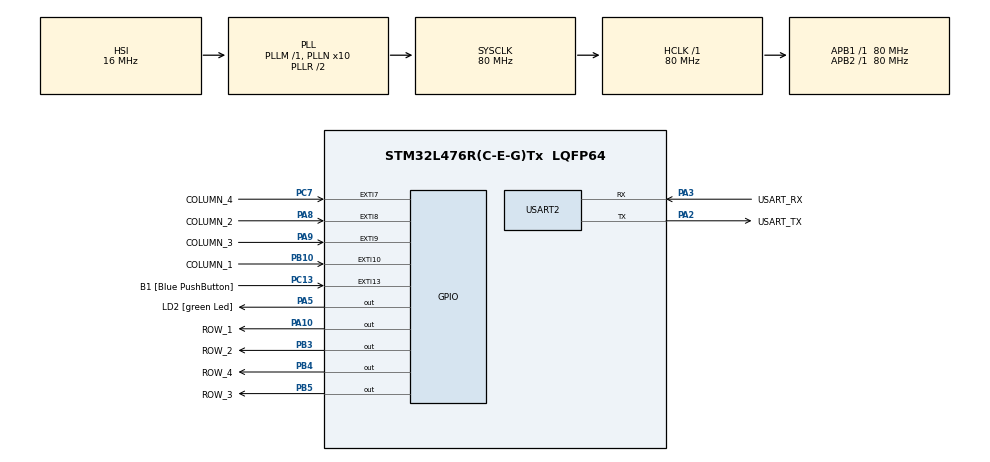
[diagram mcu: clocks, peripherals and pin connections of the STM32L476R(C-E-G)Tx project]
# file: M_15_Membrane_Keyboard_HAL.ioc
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Mcu.Family=STM32L4
Mcu.Name=STM32L476R(C-E-G)Tx
Mcu.Package=LQFP64
NVIC.EXTI15_10_IRQn=true\:0\:0\:false\:false\:true\:true\:true\:true
NVIC.EXTI9_5_IRQn=true\:0\:0\:false\:false\:true\:true\:true\:true
NVIC.PriorityGroup=NVIC_PRIORITYGROUP_4
NVIC.USART2_IRQn=true\:0\:0\:false\:false\:true\:true\:true\:true
PA10.GPIO_Label=ROW_1
PA10.Signal=GPIO_Output
PA13\ (JTMS-SWDIO).GPIO_Label=TMS
PA13\ (JTMS-SWDIO).Mode=Serial_Wire
PA13\ (JTMS-SWDIO).Signal=SYS_JTMS-SWDIO
PA14\ (JTCK-SWCLK).GPIO_Label=TCK
PA14\ (JTCK-SWCLK).Mode=Serial_Wire
PA14\ (JTCK-SWCLK).Signal=SYS_JTCK-SWCLK
PA2.GPIO_Label=USART_TX
PA2.GPIO_Mode=GPIO_MODE_AF_PP
PA2.GPIO_PuPd=GPIO_NOPULL
PA2.GPIO_Speed=GPIO_SPEED_FREQ_VERY_HIGH
PA2.Mode=Asynchronous
PA2.Signal=USART2_TX
PA3.GPIO_Label=USART_RX
PA3.GPIO_Mode=GPIO_MODE_AF_PP
PA3.GPIO_PuPd=GPIO_NOPULL
PA3.GPIO_Speed=GPIO_SPEED_FREQ_VERY_HIGH
PA3.Mode=Asynchronous
PA3.Signal=USART2_RX
PA5.GPIO_Label=LD2 [green Led]
PA5.GPIO_ModeDefaultOutputPP=GPIO_MODE_OUTPUT_PP
PA5.GPIO_PuPd=GPIO_NOPULL
PA5.GPIO_Speed=GPIO_SPEED_FREQ_LOW
PA5.Signal=GPIO_Output
PA8.GPIO_Label=COLUMN_2
PA8.GPIO_PuPd=GPIO_PULLDOWN
PA8.Signal=GPXTI8
PA9.GPIO_Label=COLUMN_3
PA9.GPIO_PuPd=GPIO_PULLDOWN
PA9.Signal=GPXTI9
PB10.GPIO_Label=COLUMN_1
PB10.GPIO_PuPd=GPIO_PULLDOWN
PB10.Signal=GPXTI10
PB3\ (JTDO-TRACESWO).GPIO_Label=ROW_2
PB3\ (JTDO-TRACESWO).Signal=GPIO_Output
PB4\ (NJTRST).GPIO_Label=ROW_4
PB4\ (NJTRST).Signal=GPIO_Output
PB5.GPIO_Label=ROW_3
PB5.Signal=GPIO_Output
PC13.GPIO_Label=B1 [Blue PushButton]
PC13.GPIO_ModeDefaultEXTI=GPIO_MODE_IT_FALLING
PC13.GPIO_PuPd=GPIO_NOPULL
PC13.Signal=GPXTI13
PC14-OSC32_IN\ (PC14).Mode=LSE-External-Oscillator
PC14-OSC32_IN\ (PC14).Signal=RCC_OSC32_IN
PC15-OSC32_OUT\ (PC15).Mode=LSE-External-Oscillator
PC15-OSC32_OUT\ (PC15).Signal=RCC_OSC32_OUT
PC7.GPIO_Label=COLUMN_4
PC7.GPIO_PuPd=GPIO_PULLDOWN
PC7.Signal=GPXTI7
PH0-OSC_IN\ (PH0).Signal=RCC_OSC_IN
PH1-OSC_OUT\ (PH1).Signal=RCC_OSC_OUT
ProjectManager.HeapSize=0x200
ProjectManager.StackSize=0x400
ProjectManager.TargetToolchain=STM32CubeIDE
RCC.ADCFreq_Value=64000000
RCC.AHBFreq_Value=80000000
RCC.APB1Freq_Value=80000000
RCC.APB1TimFreq_Value=80000000
RCC.APB2Freq_Value=80000000
RCC.APB2TimFreq_Value=80000000
RCC.CortexFreq_Value=80000000
RCC.HCLKFreq_Value=80000000
RCC.HSE_VALUE=8000000
RCC.HSI_VALUE=16000000
RCC.MSI_VALUE=4000000
RCC.PLLN=10
RCC.PLLSourceVirtual=RCC_PLLSOURCE_HSI
RCC.PREFETCH_ENABLE=1
RCC.SYSCLKFreq_VALUE=80000000
RCC.SYSCLKSource=RCC_SYSCLKSOURCE_PLLCLK
RCC.USBFreq_Value=64000000
RCC.VCOOutputFreq_Value=160000000
USART2.VirtualMode-Asynchronous=VM_ASYNC
board=NUCLEO-L476RG

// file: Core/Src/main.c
/* USER CODE BEGIN Header */
/**
  ******************************************************************************
  * @file           : main.c
  * @brief          : Main program body
  ******************************************************************************
  * @attention
  *
  * Copyright (c) 2023 STMicroelectronics.
  * All rights reserved.
  *
  * This software is licensed under terms that can be found in the LICENSE file
  * in the root directory of this software component.
  * If no LICENSE file comes with this software, it is provided AS-IS.
  *
  ******************************************************************************
  */
/* USER CODE END Header */
#include "main.h"

/* USER CODE BEGIN Includes */
#include <stdio.h>
#include <string.h>

#include "ring_buffer.h"
#include "keypad.h"
/* USER CODE END Includes */

UART_HandleTypeDef huart2;

/* USER CODE BEGIN PV */
ring_buffer_t ring_buffer_uart_rx;
uint8_t rx_buffer[16];
uint8_t rx_data;

uint16_t key_event = 0xFF;

ring_buffer_t ring_buffer_keypad;
uint8_t keypad_buffer[5];

const uint8_t birth_year[] = "2002#";
/* USER CODE END PV */

void SystemClock_Config(void);
static void MX_GPIO_Init(void);
static void MX_USART2_UART_Init(void);

/* USER CODE BEGIN 0 */

int _write(int file, char *ptr, int len)
{
  HAL_UART_Transmit(&huart2, (uint8_t *)ptr, len, HAL_MAX_DELAY);
  return len;
}
/**
  * @brief  Rx Transfer completed callback.
  * @param  huart UART handle.
  * @retval None
  */
void HAL_UART_RxCpltCallback(UART_HandleTypeDef *huart)
{
	if (ring_buffer_put(&ring_buffer_uart_rx, rx_data) == 0) {
		printf("Rx buffer is full\r\n");
	}

	HAL_UART_Receive_IT(&huart2, &rx_data, 1);
}

/**
  * @brief  EXTI line detection callback.
  * @param  GPIO_Pin Specifies the port pin connected
  *         to corresponding EXTI line.
  * @retval None
  */
void HAL_GPIO_EXTI_Callback(uint16_t GPIO_Pin)
{
	key_event = GPIO_Pin;
}

/**
  * @brief Función para validar el año de nacimiento
  * @param None
  * @retval None
  */
void validate_birth_year(void)
{
	// Array para extraer los bytes del Ring Buffer
	uint8_t temp_buffer[5];

	// Obtiene los bytes del Ring Buffer
	for (uint8_t idx = 0; idx < 5; idx++) {
		ring_buffer_get(&ring_buffer_keypad, &temp_buffer[idx]); // Guarda los bytes extraídos del Ring Buffer y los almacena en el array
	}

	// Compara si son iguales
	if (memcmp(birth_year, temp_buffer, 5) == 0) {
		printf("Success\r\n");
	} else {
		printf("Fail\r\n");
	}
}

/**
  * @brief Función para procesar la tecla presionada en el teclado de membrana
  * @param key_pressed: Tecla presionada en el teclado de membrana
  * @retval None
  */
void process_key_press(uint8_t key_pressed)
{
	// Se coloca la tecla en el Ring Buffer
	ring_buffer_put(&ring_buffer_keypad, key_pressed);

	// Si la tecla presionada es * se reinicia el Ring Buffer
	if (key_pressed == '*') {
	  ring_buffer_reset(&ring_buffer_keypad);
	}
	// Si el Ring Buffer está lleno ( Tiene ya los 5 Bytes) se llama a la función para validar la fecha
	else if (ring_buffer_is_full(&ring_buffer_keypad) != 0) {
	  validate_birth_year();
	}
}
/* USER CODE END 0 */

int main(void)
{

  /* MCU Configuration--------------------------------------------------------*/

  /* Reset of all peripherals, Initializes the Flash interface and the Systick. */
  HAL_Init();

  /* Configure the system clock */
  SystemClock_Config();

  /* Initialize all configured peripherals */
  MX_GPIO_Init();
  MX_USART2_UART_Init();
  /* USER CODE BEGIN 2 */

  // Inicializa los Ring Buffer a usar
  ring_buffer_init(&ring_buffer_uart_rx, rx_buffer, 16);
  ring_buffer_init(&ring_buffer_keypad, keypad_buffer, 5);

  HAL_UART_Receive_IT(&huart2, &rx_data, 1);

  // Inicializa la configuración del Keypad
  keypad_init();
  /* USER CODE END 2 */

  /* Infinite loop */
  /* USER CODE BEGIN WHILE */
  while (1)
  {
	  // Mira que si haya un evento de teclado 0xFF -> 255
	  if (key_event != 0xFF) {
		  uint16_t key_pressed = keypad_handler(key_event); // call the keypad handler -> Obtiene la tecla presionada

		  // Mira que se haya presionado alguna tecla
		  if (key_pressed != 0xFF) {
			  printf("Key pressed: %c\r\n", key_pressed); // print the key pressed
			  process_key_press(key_pressed);
		  }
		  key_event = 0xFF; // Limpia el evento
	  }

    /* USER CODE END WHILE */

  }
}

void SystemClock_Config(void)
{
  RCC_OscInitTypeDef RCC_OscInitStruct = {0};
  RCC_ClkInitTypeDef RCC_ClkInitStruct = {0};

  /** Configure the main internal regulator output voltage
  */
  if (HAL_PWREx_ControlVoltageScaling(PWR_REGULATOR_VOLTAGE_SCALE1) != HAL_OK)
  {
    Error_Handler();
  }

  /** Initializes the RCC Oscillators according to the specified parameters
  * in the RCC_OscInitTypeDef structure.
  */
  RCC_OscInitStruct.OscillatorType = RCC_OSCILLATORTYPE_HSI;
  RCC_OscInitStruct.HSIState = RCC_HSI_ON;
  RCC_OscInitStruct.HSICalibrationValue = RCC_HSICALIBRATION_DEFAULT;
  RCC_OscInitStruct.PLL.PLLState = RCC_PLL_ON;
  RCC_OscInitStruct.PLL.PLLSource = RCC_PLLSOURCE_HSI;
  RCC_OscInitStruct.PLL.PLLM = 1;
  RCC_OscInitStruct.PLL.PLLN = 10;
  RCC_OscInitStruct.PLL.PLLP = RCC_PLLP_DIV7;
  RCC_OscInitStruct.PLL.PLLQ = RCC_PLLQ_DIV2;
  RCC_OscInitStruct.PLL.PLLR = RCC_PLLR_DIV2;
  if (HAL_RCC_OscConfig(&RCC_OscInitStruct) != HAL_OK)
  {
    Error_Handler();
  }

  /** Initializes the CPU, AHB and APB buses clocks
  */
  RCC_ClkInitStruct.ClockType = RCC_CLOCKTYPE_HCLK|RCC_CLOCKTYPE_SYSCLK
                              |RCC_CLOCKTYPE_PCLK1|RCC_CLOCKTYPE_PCLK2;
  RCC_ClkInitStruct.SYSCLKSource = RCC_SYSCLKSOURCE_PLLCLK;
  RCC_ClkInitStruct.AHBCLKDivider = RCC_SYSCLK_DIV1;
  RCC_ClkInitStruct.APB1CLKDivider = RCC_HCLK_DIV1;
  RCC_ClkInitStruct.APB2CLKDivider = RCC_HCLK_DIV1;

  if (HAL_RCC_ClockConfig(&RCC_ClkInitStruct, FLASH_LATENCY_4) != HAL_OK)
  {
    Error_Handler();
  }
}

static void MX_USART2_UART_Init(void)
{

  huart2.Instance = USART2;
  huart2.Init.BaudRate = 115200;
  huart2.Init.WordLength = UART_WORDLENGTH_8B;
  huart2.Init.StopBits = UART_STOPBITS_1;
  huart2.Init.Parity = UART_PARITY_NONE;
  huart2.Init.Mode = UART_MODE_TX_RX;
  huart2.Init.HwFlowCtl = UART_HWCONTROL_NONE;
  huart2.Init.OverSampling = UART_OVERSAMPLING_16;
  huart2.Init.OneBitSampling = UART_ONE_BIT_SAMPLE_DISABLE;
  huart2.AdvancedInit.AdvFeatureInit = UART_ADVFEATURE_NO_INIT;
  if (HAL_UART_Init(&huart2) != HAL_OK)
  {
    Error_Handler();
  }

}

static void MX_GPIO_Init(void)
{
  GPIO_InitTypeDef GPIO_InitStruct = {0};

  /* GPIO Ports Clock Enable */
  __HAL_RCC_GPIOC_CLK_ENABLE();
  __HAL_RCC_GPIOH_CLK_ENABLE();
  __HAL_RCC_GPIOA_CLK_ENABLE();
  __HAL_RCC_GPIOB_CLK_ENABLE();

  /*Configure GPIO pin Output Level */
  HAL_GPIO_WritePin(GPIOA, LD2_Pin|ROW_1_Pin, GPIO_PIN_RESET);

  /*Configure GPIO pin Output Level */
  HAL_GPIO_WritePin(GPIOB, ROW_2_Pin|ROW_4_Pin|ROW_3_Pin, GPIO_PIN_RESET);

  /*Configure GPIO pin : B1_Pin */
  GPIO_InitStruct.Pin = B1_Pin;
  GPIO_InitStruct.Mode = GPIO_MODE_IT_FALLING;
  GPIO_InitStruct.Pull = GPIO_NOPULL;
  HAL_GPIO_Init(B1_GPIO_Port, &GPIO_InitStruct);

  /*Configure GPIO pins : LD2_Pin ROW_1_Pin */
  GPIO_InitStruct.Pin = LD2_Pin|ROW_1_Pin;
  GPIO_InitStruct.Mode = GPIO_MODE_OUTPUT_PP;
  GPIO_InitStruct.Pull = GPIO_NOPULL;
  GPIO_InitStruct.Speed = GPIO_SPEED_FREQ_LOW;
  HAL_GPIO_Init(GPIOA, &GPIO_InitStruct);

  /*Configure GPIO pin : COLUMN_1_Pin */
  GPIO_InitStruct.Pin = COLUMN_1_Pin;
  GPIO_InitStruct.Mode = GPIO_MODE_IT_RISING;
  GPIO_InitStruct.Pull = GPIO_PULLDOWN;
  HAL_GPIO_Init(COLUMN_1_GPIO_Port, &GPIO_InitStruct);

  /*Configure GPIO pin : COLUMN_4_Pin */
  GPIO_InitStruct.Pin = COLUMN_4_Pin;
  GPIO_InitStruct.Mode = GPIO_MODE_IT_RISING;
  GPIO_InitStruct.Pull = GPIO_PULLDOWN;
  HAL_GPIO_Init(COLUMN_4_GPIO_Port, &GPIO_InitStruct);

  /*Configure GPIO pins : COLUMN_2_Pin COLUMN_3_Pin */
  GPIO_InitStruct.Pin = COLUMN_2_Pin|COLUMN_3_Pin;
  GPIO_InitStruct.Mode = GPIO_MODE_IT_RISING;
  GPIO_InitStruct.Pull = GPIO_PULLDOWN;
  HAL_GPIO_Init(GPIOA, &GPIO_InitStruct);

  /*Configure GPIO pins : ROW_2_Pin ROW_4_Pin ROW_3_Pin */
  GPIO_InitStruct.Pin = ROW_2_Pin|ROW_4_Pin|ROW_3_Pin;
  GPIO_InitStruct.Mode = GPIO_MODE_OUTPUT_PP;
  GPIO_InitStruct.Pull = GPIO_NOPULL;
  GPIO_InitStruct.Speed = GPIO_SPEED_FREQ_LOW;
  HAL_GPIO_Init(GPIOB, &GPIO_InitStruct);

  /* EXTI interrupt init*/
  HAL_NVIC_SetPriority(EXTI9_5_IRQn, 0, 0);
  HAL_NVIC_EnableIRQ(EXTI9_5_IRQn);

  HAL_NVIC_SetPriority(EXTI15_10_IRQn, 0, 0);
  HAL_NVIC_EnableIRQ(EXTI15_10_IRQn);

}

void Error_Handler(void)
{
  __disable_irq();
  while (1)
  {
  }
}
